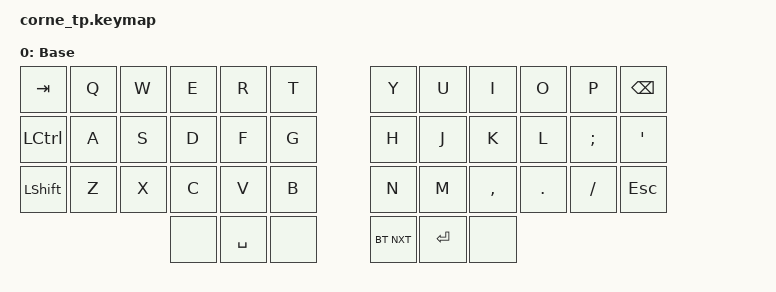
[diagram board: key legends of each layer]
/*
 * Copyright (c) 2020 The ZMK Contributors
 *
 * SPDX-License-Identifier: MIT
 */

#include <behaviors.dtsi>
#include <dt-bindings/zmk/keys.h>
#include <dt-bindings/zmk/bt.h>

#define BASE 0
// Disable line-wrap in your editor to see a "visualization" of the key layouts
/ {

  keymap {
    compatible = "zmk,keymap";

    Base_layer {
      display-name = "Base";
      bindings = <
// ╭────────────────────────┬────────────────────────┬────────────────────────┬────────────────────────┬────────────────────────┬────────────────────────╮    ╭────────────────────────┬────────────────────────┬────────────────────────┬───────────────────────┬────────────────────────┬────────────────────────╮
     &kp TAB                  &kp Q                    &kp W                    &kp E                    &kp R                    &kp T                         &kp Y                    &kp U                    &kp I                    &kp O                    &kp P                    &kp BSPC
// ├────────────────────────┼────────────────────────┼────────────────────────┼────────────────────────┼────────────────────────┼────────────────────────┤    ├────────────────────────┼────────────────────────┼────────────────────────┼───────────────────────┼────────────────────────┼────────────────────────┤
     &kp LCTRL                &kp A                    &kp S                    &kp D                    &kp F                    &kp G                         &kp H                    &kp J                    &kp K                    &kp L                    &kp SEMI                 &kp SQT
// ├────────────────────────┼────────────────────────┼────────────────────────┼────────────────────────┼────────────────────────┼────────────────────────┤    ├────────────────────────┼────────────────────────┼────────────────────────┼───────────────────────┼────────────────────────┼────────────────────────┤
     &kp LSHFT                &kp Z                    &kp X                    &kp C                    &kp V                    &kp B                         &kp N                    &kp M                    &kp COMMA                &kp DOT                  &kp SLASH                &kp ESC
// ╰────────────────────────┴────────────────────────┴────────────────────────┴────────────────────────┼────────────────────────┼────────────────────────┤    ├────────────────────────┼────────────────────────┼────────────────────────┼───────────────────────┼────────────────────────┼────────────────────────╯
                                                                                &none                    &kp SPACE                &none                         &bt BT_NXT               &kp RET                  &none
//                                                                            ╰────────────────────────┴────────────────────────┴────────────────────────╯    ╰────────────────────────┴────────────────────────┴────────────────────────╯

      >;
    };
  };
};
